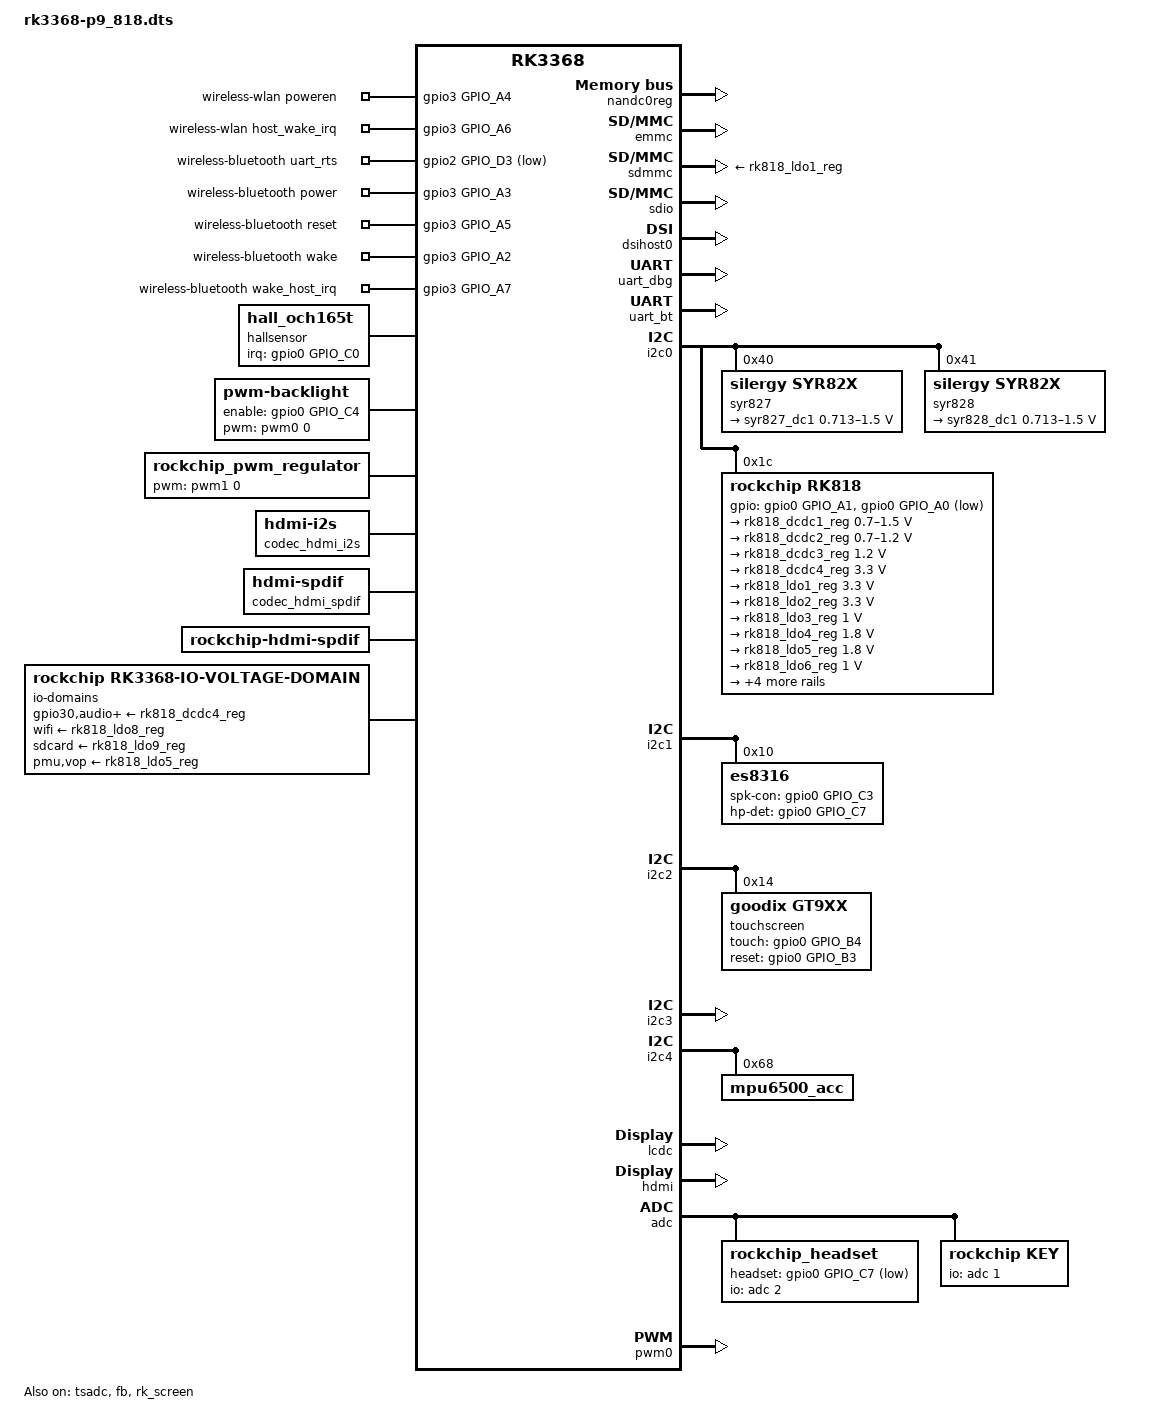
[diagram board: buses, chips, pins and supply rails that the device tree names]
/dts-v1/;

#include <dt-bindings/interrupt-controller/arm-gic.h>
#include <dt-bindings/rkfb/rk_fb.h>
#include "rk3368.dtsi"
#include "../../../arm/boot/dts/lcd-ld089wu1-mipi.dtsi"
/ {
	chosen {
		bootargs = "earlyprintk=uart8250-32bit,0xff690000";
	};

	wireless-wlan {
		compatible = "wlan-platdata";

		rockchip,grf = <&grf>;

                /* wifi_chip_type - wifi chip define
                 * ap6210, ap6330, ap6335
                 * rtl8188eu, rtl8723bs, rtl8723bu
                 * esp8089
                */
                wifi_chip_type = "ap6210";		

		sdio_vref = <1800>; //1800mv or 3300mv
 		power_pmu_regulator = "vccio_wl";
		power_pmu_enable_level = <1>; //1->HIGH, 0->LOW

                //vref_ctrl_enable;
                vref_pmu_regulator = "vccio_wl";
		vref_pmu_enable_level = <1>; //1->HIGH, 0->LOW

		WIFI,poweren_gpio = <&gpio3 GPIO_A4 GPIO_ACTIVE_HIGH>;
		WIFI,host_wake_irq = <&gpio3 GPIO_A6 GPIO_ACTIVE_HIGH>;

		status = "okay";
	};

	wireless-bluetooth {
		compatible = "bluetooth-platdata";
		uart_rts_gpios = <&gpio2 GPIO_D3 GPIO_ACTIVE_LOW>;
		pinctrl-names = "default","rts_gpio";
		pinctrl-0 = <&uart0_rts>;
		pinctrl-1 = <&uart0_rts_gpio>;

		BT,power_gpio = <&gpio3 GPIO_A3 GPIO_ACTIVE_HIGH>;
		BT,reset_gpio = <&gpio3 GPIO_A5 GPIO_ACTIVE_HIGH>;
		BT,wake_gpio = <&gpio3 GPIO_A2 GPIO_ACTIVE_HIGH>;
		BT,wake_host_irq = <&gpio3 GPIO_A7 GPIO_ACTIVE_HIGH>;

		status = "okay";
	};

	hallsensor {
	       compatible = "hall_och165t";
	       type = <SENSOR_TYPE_HALL>;
	       irq-gpio = <&gpio0 GPIO_C0 IRQ_TYPE_EDGE_BOTH>;
	};

	backlight: backlight {
		compatible = "pwm-backlight";
		pwms = <&pwm0 0 25000>;
		brightness-levels = <0 1 2 3 4 5 6 7 8 9 10 11 12 13 14 15 16 17 18
		19 20 21 22 23 24 25 26 27 28 29 30 31 32 33 34 35 36 37 38 39 40 41
		42 43 44 45 46 47 48 49 50 51 52 53 54 55 56 57 58 59 60 61 62 63 64
		65 66 67 68 69 70 71 72 73 74 75 76 77 78 79 80 81 82 83 84 85 86 87
		88 89 90 91 92 93 94 95 96 97 98 99 100 101 102 103 104 105 106 107 108 109
		110 111 112 113 114 115 116 117 118 119 120 121 122 123 124 125 126 127 128
		129 130 131 132 133 134 135 136 137 138 139 140 141 142 143 144 145 146 147
		148 149 150 151 152 153 154 155 156 157 158 159 160 161 162 163 164 165 166
		167 168 169 170 171 172 173 174 175 176 177 178 179 180 181 182 183 184 185
		186 187 188 189 190 191 192 193 194 195 196 197 198 199 200 201 202 203 204
		205 206 207 208 209 210 211 212 213 214 215 216 217 218 219 220 221 222 223
		224 225 226 227 228 229 230 231 232 233 234 235 236 237 238 239 240 241 242
		243 244 245 246 247 248 249 250 251 252 253 254 255>;
		default-brightness-level = <128>;
		enable-gpios = <&gpio0 GPIO_C4 GPIO_ACTIVE_HIGH>;
	};

	pwm_regulator {
		compatible = "rockchip_pwm_regulator";
		pwms = <&pwm1 0 2000>;
		rockchip,pwm_id= <1>;
		rockchip,pwm_voltage_map= <925000 950000 975000 1000000 1025000 1050000 1075000 1100000 1125000 1150000 1175000 1200000 1225000 1250000 1275000 1300000 1325000 1350000 1375000 1400000>;
		rockchip,pwm_voltage= <1000000>;
		rockchip,pwm_min_voltage= <925000>;
		rockchip,pwm_max_voltage= <1400000>;
		rockchip,pwm_suspend_voltage= <950000>;
		rockchip,pwm_coefficient= <475>;
		regulators {
			#address-cells = <1>;
			#size-cells = <0>;
			pwm_reg0: regulator@0 {
				regulator-compatible = "pwm_dcdc1";
				regulator-name= "vdd_logic";
				regulator-min-microvolt = <925000>;
				regulator-max-microvolt = <1400000>;
				regulator-always-on;
				regulator-boot-on;
			};
		};
	};

	codec_hdmi_i2s: codec-hdmi-i2s {
		compatible = "hdmi-i2s";
	};

	codec_hdmi_spdif: codec-hdmi-spdif {
		compatible = "hdmi-spdif";
	};

	rockchip-hdmi-i2s {
		compatible = "rockchip-hdmi-i2s";
		dais {
			dai0 {
				audio-codec = <&codec_hdmi_i2s>;
				audio-controller = <&i2s0>;
				format = "i2s";
			};
		};
	};

	rockchip-hdmi-spdif {
		compatible = "rockchip-hdmi-spdif";
		dais {
			dai0 {
				audio-codec = <&codec_hdmi_spdif>;
				audio-controller = <&spdif>;
			};
		};
	};

        rockchip-es8316 {
                compatible = "rockchip-es8316";
                dais {
                        dai0 {
                                audio-codec = <&es8316>;
                                audio-controller = <&i2s0>;
                                format = "i2s";
                        };
		};
        };

	io-domains {
		compatible = "rockchip,rk3368-io-voltage-domain";
		rockchip,grf = <&grf>;
		rockchip,pmugrf = <&pmugrf>;

		/*GRF_IO_VSEL*/
		gpio30-supply = <&rk818_dcdc4_reg>;	/*APIO1_VDD*/
		wifi-supply = <&rk818_ldo8_reg>;     /*APIO2_VDD*/
		audio-supply = <&rk818_dcdc4_reg>;   /*APIO3_VDD*/
		gpio1830-supply = <&rk818_dcdc4_reg>;	/*ADIO4_VDD*/
		sdcard-supply = <&rk818_ldo9_reg>;   /*SDMMC_VDD*/

		/*PMU_GRF_IO_VSEL*/
		pmu-supply = <&rk818_ldo5_reg>;      /*PMUIO_VDD*/
		vop-supply = <&rk818_ldo5_reg>;      /*LCDC_VDD*/
	};
};

&tsadc {
       tsadc-tshut-mode = <0>; /* tshut mode 0:CRU 1:GPIO */
       //tsadc-tshut-polarity = <0>; /* tshut polarity 0:LOW 1:HIGH */
       status = "okay";
};

&pinctrl {
	//used for init some gpio
	init-gpios = <&gpio0 GPIO_A6 GPIO_ACTIVE_HIGH>;

	gpio0_gpio {
			gpio0_c7: gpio0-c7 {
				rockchip,pins = <0 GPIO_C7 RK_FUNC_GPIO &pcfg_pull_down>;
			};
			gpio0_a3: gpio0-a3 {
				rockchip,pins = <0 GPIO_A3 RK_FUNC_3 &pcfg_pull_none>;
			};
			gpio0_c2: gpio0-c2 {
				rockchip,pins = <0 GPIO_C2 RK_FUNC_GPIO &pcfg_pull_down>;
			};
			gpio0_c3: gpio0-c3{
				rockchip,pins = <0 GPIO_C3 RK_FUNC_GPIO &pcfg_pull_down>;
			};

                        gpio0_c1: gpio0-c1 {
                                rockchip,pins = <0 GPIO_C1 RK_FUNC_GPIO &pcfg_pull_up>;
                        };
			//to add
		};

};

&nandc0 {
	status = "disabled"; // used nand set "disabled" ,used emmc set "okay"
};

&nandc0reg {
	status = "okay"; // used nand set "disabled" ,used emmc set "okay"
};

&emmc {
	clock-frequency = <150000000>;
	clock-freq-min-max = <400000 150000000>;

	supports-highspeed;
	supports-emmc;
	bootpart-no-access;

	//supports-sd;
	supports-DDR_MODE; //you should set the two value in your project. only close in RK3288-SDK board.
	caps2-mmc-hs200;

	ignore-pm-notify;
	keep-power-in-suspend;

	//poll-hw-reset
	status = "okay";
};

&sdmmc {
	clock-frequency = <50000000>;
	clock-freq-min-max = <400000 50000000>;
	supports-highspeed;
	supports-sd;
	broken-cd;
	card-detect-delay = <200>;

	ignore-pm-notify;
	keep-power-in-suspend;

	vmmc-supply = <&rk818_ldo1_reg>;
		status = "okay";
};

&sdio {
	clock-frequency = <50000000>;
	clock-freq-min-max = <200000 50000000>;
	supports-highspeed;
	supports-sdio;
	ignore-pm-notify;
	keep-power-in-suspend;
	//cap-sdio-irq;
	status = "okay";
};

&dsihost0{
	status = "okay";
};

&spi0 {
	status = "disabled";
};

&spi1 {
	status = "disabled";
};

&spi2 {
	status = "disabled";
};

&gmac {
        status = "disabled";
};

&uart_dbg {
	status = "okay";
};

&uart_bt {
	status = "okay";
	dma-names = "!tx", "!rx";
	pinctrl-0 = <&uart0_xfer &uart0_cts>;
};

&i2c0 {
	status = "okay";
	syr827: syr827@40 {
		compatible = "silergy,syr82x";
		reg = <0x40>;
		status = "okay";
		regulators {
			#address-cells = <1>;
			#size-cells = <0>;
			syr827_dc1: regulator@0 {
			reg = <0>;
			regulator-compatible = "syr82x_dcdc1";
			regulator-name = "vdd_arm";
			regulator-min-microvolt = <712500>;
			regulator-max-microvolt = <1500000>;
			regulator-always-on;
			regulator-boot-on;
			regulator-initial-mode = <0x2>;
			regulator-initial-state = <3>;
			regulator-state-mem {
				regulator-state-mode = <0x2>;
				regulator-state-disabled;
				regulator-state-uv = <900000>;
			};
		};
	   };
	};
	syr828: syr828@41 {
		compatible = "silergy,syr82x";
		reg = <0x41>;
		status = "okay";
		regulators {
			#address-cells = <1>;
			#size-cells = <0>;
			syr828_dc1: regulator@0 {
			reg = <0>;
			regulator-compatible = "syr82x_dcdc1";
			regulator-name = "vdd_gpu";
			regulator-min-microvolt = <712500>;
			regulator-max-microvolt = <1500000>;
			regulator-always-on;
			regulator-boot-on;
			regulator-initial-mode = <0x2>;
			regulator-initial-state = <3>;
			regulator-state-mem {
				regulator-state-mode = <0x2>;
				regulator-state-enabled;
				regulator-state-uv = <900000>;
			};
		};
	   };
	};

	rk818: rk818@1c {
		reg = <0x1c>;
		status = "okay";
		compatible = "rockchip,rk818";
		battery {
			ocv_table = <3400 3650 3693 3707 3731 3749 3760
			             3770 3782 3796 3812 3829 3852 3882
			             3915 3951 3981 4047 4086 4132 4182>;
			design_capacity = <8650>;
			design_qmax = <8800>;
			max_overcharge = <100>;
			bat_res = <85>;
			max_input_currentmA  = <2000>;
			max_chrg_currentmA = <1800>;
			max_charge_voltagemV = <4200>;
			max_bat_voltagemV = <4200>;
                        sleep_enter_current = <600>;
                        sleep_exit_current = <600>;
                        power_off_thresd = <3400>;
                        chrg_diff_voltagemV = <0>;
                        virtual_power = <0>;
                        support_usb_adp = <1>;
                        support_dc_adp = <1>;
                        dc_det_gpio = <&gpio0 GPIO_C1 GPIO_ACTIVE_LOW>;
		};
	};
};

&i2c1 {
	status = "okay";
	es8316: es8316@10 {
		compatible = "es8316";
		reg = <0x10>;
		spk-con-gpio = <&gpio0 GPIO_C3 GPIO_ACTIVE_HIGH>;
		hp-det-gpio = <&gpio0 GPIO_C7 GPIO_ACTIVE_HIGH>;
		status = "okay";
	};
};

&i2c2 {
	status = "okay";
	touchscreen@14 {
		compatible = "goodix,gt9xx";
		reg = <0x14>;
		touch-gpio = <&gpio0 GPIO_B4 IRQ_TYPE_LEVEL_LOW>;
		reset-gpio = <&gpio0 GPIO_B3 GPIO_ACTIVE_HIGH>;	 
		max-x = <1920>;	                 
		max-y = <1200>;
		tp-size = <89>;
	};
};

&i2c3 {
	status = "okay";
};

&i2c4 {
	status = "okay";
	mpu6500_acc:mpu_acc@68{
		compatible = "mpu6500_acc";
		reg = <0x68>;
		irq_enable = <0>;
		poll_delay_ms = <30>;
		type = <SENSOR_TYPE_ACCEL>;
		layout = <7>;
	};
};

&i2c5 {
	status = "disabled";
};

&fb {
	status = "okay";
	rockchip,disp-mode = <NO_DUAL>;
	rockchip,uboot-logo-on = <0>;
};

&rk_screen {
	status = "okay";
	display-timings = <&disp_timings>;
};

&lcdc {
	status = "okay";
	backlight = <&backlight>;
	rockchip,mirror = <NO_MIRROR>;
	rockchip,cabc_mode = <0>;
	rockchip,fb-win-map = <FB_DEFAULT_ORDER>;
	power_ctr: power_ctr {
		rockchip,debug = <0>;
		lcd_en:lcd_en {
			rockchip,power_type = <GPIO>;
			gpios = <&gpio0 GPIO_C6 GPIO_ACTIVE_HIGH>;
			rockchip,delay = <120>;
		};

		lcd_cs:lcd_cs {
			rockchip,power_type = <GPIO>;
			gpios = <&gpio0 GPIO_C5 GPIO_ACTIVE_HIGH>;
			rockchip,delay = <10>;
		};

		/*lcd_rst:lcd_rst {
			rockchip,power_type = <GPIO>;
			gpios = <&gpio3 GPIO_D6 GPIO_ACTIVE_HIGH>;
			rockchip,delay = <5>;
		};*/
	};
};


&hdmi {
	status = "okay";
};

&adc {
	status = "okay";

	rockchip_headset {
		compatible = "rockchip_headset";
		headset_gpio = <&gpio0 GPIO_C7 GPIO_ACTIVE_LOW>;
		pinctrl-names = "default";
		pinctrl-0 = <&gpio0_c7>;//gpio0_c7
		io-channels = <&adc 2>;
       /*
               hook_gpio = ;
               hook_down_type = ; //interrupt hook key down status
		*/
       };

	key {
		compatible = "rockchip,key";
		io-channels = <&adc 1>;

		vol-up-key {
			linux,code = <115>;
			label = "volume up";
			rockchip,adc_value = <1>;
		};

		vol-down-key {
			linux,code = <114>;
			label = "volume down";
			rockchip,adc_value = <170>;
		};

		power-key {
			gpios = <&gpio0 GPIO_A2 GPIO_ACTIVE_LOW>;
			linux,code = <116>;
			label = "power";
			gpio-key,wakeup;
		};
	};
};

&pwm0 {
        status = "okay";
};

&pwm1 {
	status = "disabled";
};

&clk_core_b_dvfs_table {
	operating-points = <
		/* KHz    uV */
		216000 950000
		312000 950000
		408000 950000
		600000 950000
		696000 950000
		816000 975000
		1008000 1050000
		1200000 1150000
		1296000 1200000
		>;
	status = "okay";
};

&clk_core_l_dvfs_table {
	operating-points = <
		/* KHz    uV */
		216000 950000
		312000 950000
		408000 950000
		600000 950000
		696000 975000
		816000 1025000
		1008000 1125000
		>;
	status = "okay";
};

&clk_gpu_dvfs_table {
	operating-points = <
		/* KHz    uV */
		200000 950000
		288000 1075000
		400000 1100000
		576000 1200000
		>;
};

&clk_ddr_dvfs_table {
	operating-points = <
		/* KHz    uV */
		96000  950000
		192000 950000
		300000 1025000
		324000 1025000
		396000 1050000
		528000 1100000
		600000 1125000
		696000 1150000
		792000 1175000
		>;

	freq-table = <
		/*status		freq(KHz)*/
		SYS_STATUS_NORMAL	528000
		SYS_STATUS_SUSPEND	192000
		SYS_STATUS_VIDEO_1080P  300000
		SYS_STATUS_VIDEO_4K     600000
		SYS_STATUS_PERFORMANCE  792000
		SYS_STATUS_DUALVIEW	600000
		SYS_STATUS_BOOST	400000
		SYS_STATUS_ISP		533000
		>;
	auto-freq-table = <
		240000
		324000
		396000
		528000
		>;
	auto-freq=<0>;
	status="okay";
};

&dwc_control_usb {
	host_drv_gpio = <&gpio0 GPIO_A4 GPIO_ACTIVE_LOW>;
	otg_drv_gpio = <&gpio0 GPIO_D1 GPIO_ACTIVE_LOW>;
	rockchip,remote_wakeup;
	rockchip,usb_irq_wakeup;
};

/include/ "../../../arm/boot/dts/rk818.dtsi"
&rk818 {
	gpios =<&gpio0 GPIO_A1 GPIO_ACTIVE_HIGH>,<&gpio0 GPIO_A0 GPIO_ACTIVE_LOW>;
	rk818,system-power-controller;
        pinctrl-names = "default";
        pinctrl-0 = <&gpio0_c1>;
	regulators {

		rk818_dcdc1_reg: regulator@0{
			regulator-name= "vdd_arm";/*vcc arm*/
			regulator-min-microvolt = <700000>;/*<725000>;*/
			regulator-max-microvolt = <1500000>;
			regulator-initial-mode = <0x2>;
			regulator-initial-state = <3>;
			regulator-state-mem {
				regulator-state-mode = <0x2>;
				regulator-state-disabled;
				regulator-state-uv =<900000>;
			};
		};

		rk818_dcdc2_reg: regulator@1 {
			regulator-name= "vdd_logic";/*vcc gpu*/
			regulator-min-microvolt = <700000>;
			regulator-max-microvolt = <1200000>;
			regulator-initial-mode = <0x2>;
			regulator-initial-state = <3>;
			regulator-state-mem {
				regulator-state-mode = <0x2>;
				regulator-state-enabled;
				regulator-state-uv = <1200000>;
			};
		};

		rk818_dcdc3_reg: regulator@2 {
			regulator-name= "vcc_ddr";
			regulator-min-microvolt = <1200000>;
			regulator-max-microvolt = <1200000>;
			regulator-initial-mode = <0x2>;
			regulator-initial-state = <3>;
			regulator-state-mem {
				regulator-state-mode = <0x2>;
				regulator-state-enabled;
				regulator-state-uv = <1200000>;
			};
		};

		rk818_dcdc4_reg: regulator@3 {
			regulator-name= "vccio";
			regulator-min-microvolt = <3300000>;
			regulator-max-microvolt = <3300000>;
			regulator-initial-mode = <0x2>;
			regulator-initial-state = <3>;
			regulator-state-mem {
				regulator-state-mode = <0x2>;
				regulator-state-enabled;
				regulator-state-uv = <3000000>;
			};
		};

		rk818_ldo1_reg: regulator@4 {
			regulator-name= "vcc_codec";
			regulator-min-microvolt = <3300000>;
			regulator-max-microvolt = <3300000>;
			regulator-initial-state = <3>;
			regulator-state-mem {
				regulator-state-disabled;
				regulator-state-uv = <3300000>;
			};
		};

		rk818_ldo2_reg: regulator@5 {
			regulator-name= "vcc_tp";
			regulator-min-microvolt = <3300000>;
			regulator-max-microvolt = <3300000>;
			regulator-initial-state = <3>;
			regulator-state-mem {
				regulator-state-disabled;
				regulator-state-uv = <3300000>;
			};
		};

		rk818_ldo3_reg: regulator@6 {
			regulator-name= "vdd_10";
			regulator-min-microvolt = <1000000>;
			regulator-max-microvolt = <1000000>;
			regulator-initial-state = <3>;
			regulator-state-mem {
				regulator-state-enabled;
				regulator-state-uv = <1000000>;
			};
		};

		rk818_ldo4_reg:regulator@7 {
			regulator-name= "vcc18_lcd";
			regulator-min-microvolt = <1800000>;
			regulator-max-microvolt = <1800000>;
			regulator-initial-state = <3>;
			regulator-state-mem {
				regulator-state-disabled;
				regulator-state-uv = <1800000>;
			};
		};

		rk818_ldo5_reg: regulator@8 {
			regulator-name= "vccio_pmu";
			regulator-min-microvolt = <1800000>;
			regulator-max-microvolt = <1800000>;
			regulator-initial-state = <3>;
			regulator-state-mem {
				regulator-state-enabled;
				regulator-state-uv = <1800000>;
			};
		};

		rk818_ldo6_reg: regulator@9 {
			regulator-name= "vdd10_lcd";
			regulator-min-microvolt = <1000000>;
			regulator-max-microvolt = <1000000>;
			regulator-initial-state = <3>;
			regulator-state-mem {
				regulator-state-disabled;
				regulator-state-uv = <1000000>;
			};
		};

		rk818_ldo7_reg: regulator@10 {
			regulator-name= "vcc_18";
			regulator-min-microvolt = <1800000>;
			regulator-max-microvolt = <1800000>;
			regulator-initial-state = <3>;
			regulator-state-mem {
				regulator-state-enabled;
				regulator-state-uv = <1800000>;
			};
		};

		rk818_ldo8_reg: regulator@11 {
			regulator-name= "vccio_wl";
			regulator-min-microvolt = <1800000>;
			regulator-max-microvolt = <1800000>;
			regulator-initial-state = <3>;
			regulator-state-mem {
				regulator-state-enabled;
				regulator-state-uv = <1800000>;
			};
		};

		rk818_ldo9_reg: regulator@12 {
			regulator-name= "vcc_sd";
			regulator-min-microvolt = <1800000>;
			regulator-max-microvolt = <3300000>;
			regulator-initial-state = <3>;
			regulator-state-mem {
				regulator-state-enabled;
				regulator-state-uv = <3300000>;
			};
		};

		rk818_ldo10_reg: regulator@13 {
			regulator-name= "rk818_ldo10";
			regulator-state-mem {
				regulator-state-disabled;
			};
		};
	};
};

&ion_cma {
       reg = <0x00000000 0x00000000>; /* 0MB */
};

&rockchip_clocks_init {
	rockchip,clocks-init-rate =
		<&clk_gpll 576000000>,		<&clk_core_b 792000000>,
		<&clk_core_l 600000000>,	<&clk_cpll 400000000>,
		/*<&clk_npll 500000000>,*/	<&aclk_bus 150000000>,
		<&hclk_bus 75000000>,		<&pclk_bus 75000000>,
		<&clk_crypto 150000000>,	<&aclk_peri 150000000>,
		<&hclk_peri 75000000>,		<&pclk_peri 75000000>,
		<&pclk_alive_pre 100000000>,	<&pclk_pmu_pre 100000000>,
		<&clk_cs 300000000>,		<&clkin_trace 300000000>,
		<&aclk_cci 600000000>,		<&clk_mac 125000000>,
		<&aclk_vio0 400000000>,		<&hclk_vio 100000000>,
		<&aclk_rga_pre 400000000>,	<&clk_rga 400000000>,
		<&clk_isp 400000000>,		<&clk_edp 200000000>,
		<&clk_gpu_core 400000000>,	<&aclk_gpu_mem 400000000>,
		<&aclk_gpu_cfg 400000000>,	<&aclk_vepu 400000000>,
		<&aclk_vdpu 400000000>,		<&clk_hevc_core 300000000>,
		<&clk_hevc_cabac 300000000>;
};

